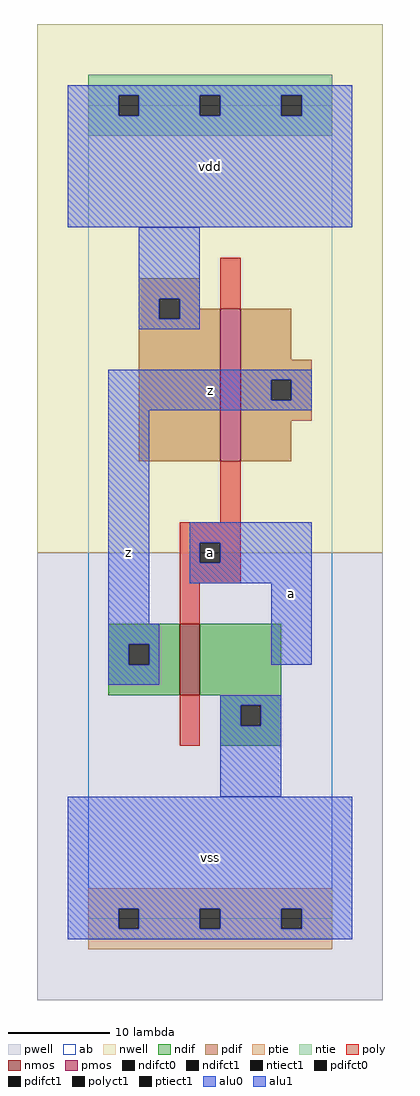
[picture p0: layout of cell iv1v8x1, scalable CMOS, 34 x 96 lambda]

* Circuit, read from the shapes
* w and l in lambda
.subckt iv1v8x1 a vdd vss z
M1 vss a z vss nfet w=7 l=2
M2 z a vdd vdd pfet w=15 l=2
.ends

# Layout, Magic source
magic
tech scmos
<< ab >>
rect 0 0 24 80
<< nwell >>
rect -5 36 29 88
<< pwell >>
rect -5 -8 29 36
<< poly >>
rect 13 60 15 65
rect 13 39 15 45
rect 9 37 15 39
rect 9 35 11 37
rect 13 35 15 37
rect 9 33 15 35
rect 9 29 11 33
rect 9 17 11 22
<< ndif >>
rect 2 27 9 29
rect 2 25 4 27
rect 6 25 9 27
rect 2 22 9 25
rect 11 22 19 29
rect 13 21 19 22
rect 13 19 15 21
rect 17 19 19 21
rect 13 17 19 19
<< pdif >>
rect 5 61 11 63
rect 5 59 7 61
rect 9 60 11 61
rect 9 59 13 60
rect 5 45 13 59
rect 15 55 20 60
rect 15 53 22 55
rect 15 51 18 53
rect 20 51 22 53
rect 15 49 22 51
rect 15 45 20 49
<< alu1 >>
rect -2 81 26 82
rect -2 79 3 81
rect 5 79 11 81
rect 13 79 19 81
rect 21 79 26 81
rect -2 68 26 79
rect 2 53 22 54
rect 2 51 18 53
rect 20 51 22 53
rect 2 50 22 51
rect 2 29 6 50
rect 10 37 22 39
rect 10 35 11 37
rect 13 35 22 37
rect 10 33 22 35
rect 2 27 7 29
rect 2 25 4 27
rect 6 25 7 27
rect 18 25 22 33
rect 2 23 7 25
rect -2 1 26 12
rect -2 -1 3 1
rect 5 -1 11 1
rect 13 -1 19 1
rect 21 -1 26 1
rect -2 -2 26 -1
<< ptie >>
rect 0 1 24 3
rect 0 -1 3 1
rect 5 -1 11 1
rect 13 -1 19 1
rect 21 -1 24 1
rect 0 -3 24 -1
<< ntie >>
rect 0 81 24 83
rect 0 79 3 81
rect 5 79 11 81
rect 13 79 19 81
rect 21 79 24 81
rect 0 77 24 79
<< nmos >>
rect 9 22 11 29
<< pmos >>
rect 13 45 15 60
<< polyct1 >>
rect 11 35 13 37
<< ndifct0 >>
rect 15 19 17 21
<< ndifct1 >>
rect 4 25 6 27
<< ntiect1 >>
rect 3 79 5 81
rect 11 79 13 81
rect 19 79 21 81
<< ptiect1 >>
rect 3 -1 5 1
rect 11 -1 13 1
rect 19 -1 21 1
<< pdifct0 >>
rect 7 59 9 61
<< pdifct1 >>
rect 18 51 20 53
<< alu0 >>
rect 5 61 11 68
rect 5 59 7 61
rect 9 59 11 61
rect 5 58 11 59
rect 13 21 19 22
rect 13 19 15 21
rect 17 19 19 21
rect 13 12 19 19
<< labels >>
rlabel alu1 4 36 4 36 6 z
rlabel alu1 12 6 12 6 6 vss
rlabel polyct1 12 36 12 36 6 a
rlabel alu1 12 52 12 52 6 z
rlabel alu1 12 74 12 74 6 vdd
rlabel alu1 20 32 20 32 6 a
<< end >>
